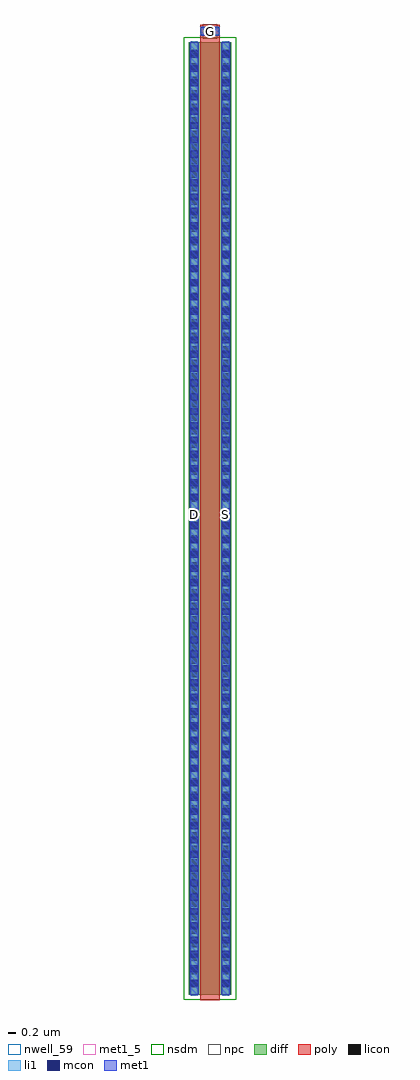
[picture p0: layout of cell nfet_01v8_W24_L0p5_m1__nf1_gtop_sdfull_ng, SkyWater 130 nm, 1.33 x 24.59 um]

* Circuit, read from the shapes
.subckt nfet_01v8_W24_L0p5_m1__nf1_gtop_sdfull_ng B D G S
XM1 S G D B sky130_fd_pr__nfet_01v8 w=24 l=0.5
.ends

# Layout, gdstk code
import gdstk
lib = gdstk.Library(unit=1e-6, precision=1e-09)
def R(c, l, rs):  # rectangles x0, y0, x1, y1
    for r in rs: c.add(gdstk.rectangle(r[:2], r[2:], *l))
def A(c, l, x, y, w, h, nx, ny, dx, dy):  # array of equal rectangles
    R(c, l, [(x+i*dx, y+j*dy, x+i*dx+w, y+j*dy+h) for i in range(nx) for j in range(ny)])
nwell_59 = (64, 59)
diff = (65, 20)
poly = (66, 20)
licon = (66, 44)
li1 = (67, 20)
mcon = (67, 44)
met1_5 = (68, 5)
met1 = (68, 20)
nsdm = (93, 44)
npc = (95, 20)

sky130_fd_pr__nfet_01v8_ = lib.new_cell('sky130_fd_pr__nfet_01v8_36FMRS')
R(sky130_fd_pr__nfet_01v8_, diff, [(-0.54,-12.155,0.54,11.845)])
R(sky130_fd_pr__nfet_01v8_, poly, [(-0.25,-12.285,0.25,12.285)])
A(sky130_fd_pr__nfet_01v8_, licon, -0.48, -11.97, 0.17, 0.17, 1, 70, 0, 0.34)
A(sky130_fd_pr__nfet_01v8_, licon, 0.31, -11.97, 0.17, 0.17, 1, 70, 0, 0.34)
R(sky130_fd_pr__nfet_01v8_, licon, [(-0.085,12.035,0.085,12.205)])
R(sky130_fd_pr__nfet_01v8_, li1, [(-0.48,-12.175,-0.31,11.865), (0.31,-12.175,0.48,11.865), (-0.25,12.035,0.25,12.205)])
A(sky130_fd_pr__nfet_01v8_, mcon, -0.48, -11.94, 0.17, 0.17, 1, 66, 0, 0.36)
A(sky130_fd_pr__nfet_01v8_, mcon, 0.31, -11.94, 0.17, 0.17, 1, 66, 0, 0.36)
R(sky130_fd_pr__nfet_01v8_, mcon, [(-0.085,12.035,0.085,12.205)])
R(sky130_fd_pr__nfet_01v8_, met1, [(-0.51,-12.155,-0.28,11.845), (0.28,-12.155,0.51,11.845), (-0.23,12.005,0.23,12.235)])
R(sky130_fd_pr__nfet_01v8_, nsdm, [(-0.665,-12.28,0.665,11.97)])
R(sky130_fd_pr__nfet_01v8_, npc, [(-0.185,11.935,0.185,12.305)])
sky130_fd_pr__nfet_01v8_.add(gdstk.Label('D', (-0.395,-0.155), layer=67, texttype=5))
sky130_fd_pr__nfet_01v8_.add(gdstk.Label('S', (0.395,-0.155), layer=67, texttype=5))
sky130_fd_pr__nfet_01v8_.add(gdstk.Label('G', (0,12.12), layer=67, texttype=5))

nfet_01v8_w24_l0p5_m1__n = lib.new_cell('nfet_01v8_W24_L0p5_m1__nf1_gtop_sdfull_ng')
R(nfet_01v8_w24_l0p5_m1__n, nwell_59, [(0.05,12.08,0.15,12.18)])
R(nfet_01v8_w24_l0p5_m1__n, met1_5, [(0.03,12.13,0.26,12.33), (0.82,12.13,1.05,12.33), (0.31,24.29,0.77,24.52)])
R(nfet_01v8_w24_l0p5_m1__n, met1, [(0.03,12.13,0.26,12.33), (0.82,12.13,1.05,12.33), (0.31,24.29,0.77,24.52)])
nfet_01v8_w24_l0p5_m1__n.add(gdstk.Reference(sky130_fd_pr__nfet_01v8_, (0.54,12.285)))
nfet_01v8_w24_l0p5_m1__n.add(gdstk.Label('D', (0.145,12.23), layer=68, texttype=5))
nfet_01v8_w24_l0p5_m1__n.add(gdstk.Label('S', (0.935,12.23), layer=68, texttype=5))
nfet_01v8_w24_l0p5_m1__n.add(gdstk.Label('G', (0.54,24.405), layer=68, texttype=5))
nfet_01v8_w24_l0p5_m1__n.add(gdstk.Label('B', (0.1,12.13), layer=64, texttype=59))

lib.write_gds('nfet_01v8_W24_L0p5_m1__nf1_gtop_sdfull_ng.gds')
